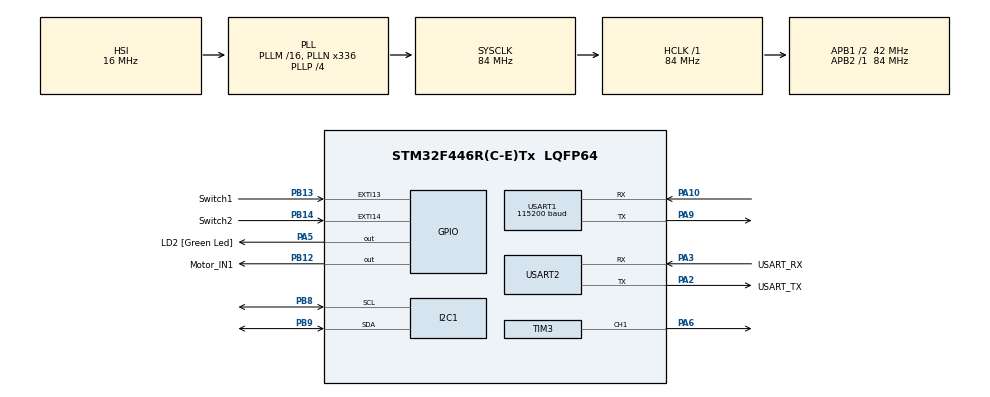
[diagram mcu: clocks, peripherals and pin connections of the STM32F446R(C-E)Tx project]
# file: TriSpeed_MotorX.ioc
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I2C1.I2C_Mode=I2C_Fast
Mcu.Family=STM32F4
Mcu.Name=STM32F446R(C-E)Tx
Mcu.Package=LQFP64
NVIC.EXTI15_10_IRQn=true\:0\:0\:false\:false\:true\:true\:true\:true
NVIC.PriorityGroup=NVIC_PRIORITYGROUP_0
NVIC.USART1_IRQn=true\:0\:0\:false\:false\:true\:true\:true\:true
NVIC.USART2_IRQn=true\:0\:0\:false\:false\:true\:true\:true\:true
PA10.Mode=Asynchronous
PA10.Signal=USART1_RX
PA13.GPIO_Label=TMS
PA13.Mode=Serial_Wire
PA13.Signal=SYS_JTMS-SWDIO
PA14.GPIO_Label=TCK
PA14.Mode=Serial_Wire
PA14.Signal=SYS_JTCK-SWCLK
PA2.GPIO_Label=USART_TX
PA2.Mode=Asynchronous
PA2.Signal=USART2_TX
PA3.GPIO_Label=USART_RX
PA3.Mode=Asynchronous
PA3.Signal=USART2_RX
PA5.GPIO_Label=LD2 [Green Led]
PA5.Signal=GPIO_Output
PA6.Signal=S_TIM3_CH1
PA9.Mode=Asynchronous
PA9.Signal=USART1_TX
PB12.GPIO_Label=Motor_IN1
PB12.Signal=GPIO_Output
PB13.GPIO_Label=Switch1
PB13.GPIO_ModeDefaultEXTI=GPIO_MODE_IT_FALLING
PB13.GPIO_PuPd=GPIO_PULLUP
PB13.Signal=GPXTI13
PB14.GPIO_Label=Switch2
PB14.GPIO_ModeDefaultEXTI=GPIO_MODE_IT_FALLING
PB14.GPIO_PuPd=GPIO_PULLUP
PB14.Signal=GPXTI14
PB3.GPIO_Label=SWO
PB3.Signal=SYS_JTDO-SWO
PB8.Mode=I2C
PB8.Signal=I2C1_SCL
PB9.Mode=I2C
PB9.Signal=I2C1_SDA
PC14-OSC32_IN.Mode=LSE-External-Oscillator
PC14-OSC32_IN.Signal=RCC_OSC32_IN
PC15-OSC32_OUT.Mode=LSE-External-Oscillator
PC15-OSC32_OUT.Signal=RCC_OSC32_OUT
PH0-OSC_IN.Mode=HSE-External-Oscillator
PH0-OSC_IN.Signal=RCC_OSC_IN
PH1-OSC_OUT.Mode=HSE-External-Oscillator
PH1-OSC_OUT.Signal=RCC_OSC_OUT
ProjectManager.HeapSize=0x200
ProjectManager.StackSize=0x400
ProjectManager.TargetToolchain=STM32CubeIDE
RCC.48MHZClocksFreq_Value=84000000
RCC.AHBFreq_Value=84000000
RCC.APB1CLKDivider=RCC_HCLK_DIV2
RCC.APB1Freq_Value=42000000
RCC.APB1TimFreq_Value=84000000
RCC.APB2Freq_Value=84000000
RCC.APB2TimFreq_Value=84000000
RCC.CortexFreq_Value=84000000
RCC.FLatency-AdvancedSettings=FLASH_LATENCY_2
RCC.HCLKFreq_Value=84000000
RCC.HSE_VALUE=8000000
RCC.HSI_VALUE=16000000
RCC.PLLN=336
RCC.PLLP=RCC_PLLP_DIV4
RCC.SYSCLKFreq_VALUE=84000000
RCC.SYSCLKSource=RCC_SYSCLKSOURCE_PLLCLK
RCC.USBFreq_Value=168000000
RCC.VCOOutputFreq_Value=336000000
SH.S_TIM3_CH1.0=TIM3_CH1,PWM Generation1 CH1
TIM3.Channel-PWM\ Generation1\ CH1=TIM_CHANNEL_1
TIM3.Period=100
TIM3.Prescaler=84-1
USART1.BaudRate=115200
USART1.VirtualMode=VM_ASYNC
USART2.VirtualMode=VM_ASYNC
VP_TIM3_VS_ClockSourceINT.Mode=Internal
board=NUCLEO-F446RE

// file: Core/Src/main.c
/* USER CODE BEGIN Header */
/**
  ******************************************************************************
  * @file           : main.c
  * @brief          : Main program body
  ******************************************************************************
  * @attention
  *
  * Copyright (c) 2025 STMicroelectronics.
  * All rights reserved.
  *
  * This software is licensed under terms that can be found in the LICENSE file
  * in the root directory of this software component.
  * If no LICENSE file comes with this software, it is provided AS-IS.
  *
  ******************************************************************************
  */
/* USER CODE END Header */
#include "main.h"

/* USER CODE BEGIN Includes */

#include <stdio.h>   // For sprintf
#include <string.h>  // For strlen
#include <stdarg.h>

#include "ssd1306.h" // From GitHub https://github.com/afiskon/stm32-ssd1306
#include "ssd1306_fonts.h" // From GitHub https://github.com/afiskon/stm32-ssd1306

/* USER CODE END Includes */

I2C_HandleTypeDef hi2c1;

TIM_HandleTypeDef htim3;

UART_HandleTypeDef huart1;
UART_HandleTypeDef huart2;

/* USER CODE BEGIN PV */

/*上面註解每次Generate Code都會被清掉移來這裡
 * 開啟I2C, Timer3, UART1
 * 另外UART2是建專案就開起的*/

/* USER CODE BEGIN PV */

volatile uint8_t btn2_down = 0;       //按鍵是否正在被按下（由中斷設為 1，放開時重設為 0）
volatile uint8_t btn2_released = 0;   //是否已經放開按鍵（偵測到釋放後設為 1，處理完後清除）
volatile uint32_t btn2_press_time = 0;//BTN2 按下當下的時間（用於計算按住時間以區分長按／短按）
volatile uint32_t btn2_release_debounce_time = 0;//放開時的防彈跳時間（確保放開維持一段時間才觸發事件）

// Motor state
volatile uint8_t speed_level = 0; //當前馬達轉速等級（0=停止, 1~3 對應弱/中/強）
volatile uint8_t uart_override = 0; //是否由 UART 控制速度（1=UART 控制, 0=按鈕控制）

// Button state
volatile uint8_t config_mode = 0; //是否進入設定模式（1=Config 模式, 只能用 UART 控制）
volatile uint8_t flag_btn1_pressed = 0; //BTN1 中斷觸發後設為 1，主程式內會依此切換速度，處理完後清除
volatile uint8_t flag_btn2_pressed = 0; //保留：目前未使用，可作為 BTN2 事件觸發用
volatile uint32_t last_btn1_time = 0; //BTN1 上次觸發時間（防彈跳用）
volatile uint32_t last_btn2_time = 0; //BTN2 上次觸發時間（防彈跳用）
uint32_t press_time = 0; //非 volatile，暫存按下時間（可與 BTN2 共用）

// UART RX
uint8_t rx_data; //USART2 單位元接收暫存區（配合 UART 中斷）

//Error Message
char oled_msg[22] = "";  //OLED 顯示訊息（最多 21 字元 + 1 個結尾 '\0'）
uint32_t oled_msg_time = 0; //訊息顯示起始時間（2 秒後自動清除）

/* USER CODE END PV */

void SystemClock_Config(void);
static void MX_GPIO_Init(void);
static void MX_USART2_UART_Init(void);
static void MX_TIM3_Init(void);
static void MX_I2C1_Init(void);
static void MX_USART1_UART_Init(void);
/* USER CODE BEGIN PFP */

/* --------------------------------------------------------------------------
 * 自己添加的私有函式宣告區（Private Function Prototypes）
 * 用於 OLED 顯示、錯誤訊息更新等自訂功能
 * -------------------------------------------------------------------------- */

void update_oled_display(void); //更新 OLED 顯示內容（狀態 / 轉速）
void oled_message(const char* fmt, ...);  //顯示錯誤訊息（支援格式化輸入

/* USER CODE END PFP */

/* USER CODE BEGIN 0 */

/*設定馬達轉速並根據狀態傳送對應 RGB 指令給 Arduino
 * mode 馬達速度等級（0=停止, 1=弱速, 2=中速, 3=高速）
 * 對應 PWM duty 為 0%, 20%, 50%, 80%
 */

void set_motor_speed(uint8_t mode)
{
    uint32_t duty = 0; //用於設定 PWM 輸出佔空比
    char rgb_cmd = '0';  //要透過 UART 傳送給 Arduino 的 RGB 控制（預設為 0：呼吸燈）
    //根據 mode 設定 PWM duty 與對應 RGB 指令
    switch(mode)
    {
        case 1: duty = 20; rgb_cmd = '1'; break; //弱速：20%，綠色系燈號
        case 2: duty = 50; rgb_cmd = '2'; break; //中速：50%，橙黃色系燈號
        case 3: duty = 80; rgb_cmd = '3'; break; //高速：80%，紅色系燈號
        default: duty = 0; rgb_cmd = '0'; break; //停止：0%，暖色系呼吸燈（待機）
    }
    //更新PWM的duty,控制馬達轉速
    __HAL_TIM_SET_COMPARE(&htim3, TIM_CHANNEL_1, duty);

    //僅在非設定模式下，主動透過 UART 傳送燈號控制指令給 Arduino（若為設定模式，應由使用者手動下指令控制燈色）
    if (!config_mode) {
        HAL_UART_Transmit(&huart1, (uint8_t *)&rgb_cmd, 1, HAL_MAX_DELAY);
    }

    //將變更結果印出到 UART2，可透過 PC 端 terminal 觀察（如 TeraTerm、PuTTY、RealTerm）
    printf("Speed changed to: %d\r\n", mode);
}

/* 開機時於 UART2 顯示控制說明
 * 包含：按鈕功能說明、UART 可輸入的控制指令格式等。
 * 可搭配 PC 端 terminal（TeraTerm / PuTTY / RealTerm）查看。
 */
void print_banner() {
    printf("=== TriSpeed MotorX v1.0 ===\r\n");
    printf("BTN1: PB13 - speed cycle\r\n");
    printf("BTN2: PB14 - short=reset, long=stop\r\n");
    printf("UART: 1/2/3/0=set, x=release override\r\n\r\n");
}

/* USER CODE END 0 */

int main(void)
{

  /* MCU Configuration--------------------------------------------------------*/

  /* Reset of all peripherals, Initializes the Flash interface and the Systick. */
  HAL_Init();

  /* Configure the system clock */
  SystemClock_Config();

  /* Initialize all configured peripherals */
  MX_GPIO_Init();
  MX_USART2_UART_Init();
  MX_TIM3_Init();
  MX_I2C1_Init();
  MX_USART1_UART_Init();
  /* USER CODE BEGIN 2 */

  //OLED 初始化與清除畫面
  ssd1306_Init(); //初始化 SSD1306 模組
  ssd1306_Fill(Black); //清除畫面
  ssd1306_UpdateScreen(); //將內容更新至 OLED

  /* USER CODE BEGIN 2 */

  //啟動外設功能
  HAL_TIM_PWM_Start(&htim3, TIM_CHANNEL_1);  //啟動馬達 PWM 控制
  HAL_UART_Receive_IT(&huart2, (uint8_t *)&rx_data, 1);   //啟動 UART2 非阻塞接收（PC端指令）

  //預設值：上電後為 Normal Mode（config_mode = 0）且馬達停止（speed_level = 0）
  config_mode = 0;
  speed_level = 0;  //speed_level = 0 對應「停止 + 呼吸燈」

  //---------- 通知 Arduino 離開設定模式 ----------
  //原本問題：若未主動通知，Arduino 仍保留在設定模式，導致顯示錯誤燈號（如閃爍白燈或藍紫燈）
  //解法：主動送出 'e'，代表退出設定模式（exit）
  char rgb_cmd_exit = 'e';
  HAL_UART_Transmit(&huart1, (uint8_t *)&rgb_cmd_exit, 1, HAL_MAX_DELAY);

  HAL_Delay(100);  //延遲一小段時間，確保 Arduino Serial 有足夠時間完成初始化

  //---------- 傳送預設燈號狀態 ----------
  //speed_level = 0 對應預設燈號（呼吸燈），需傳送 '0' 給 Arduino
  char rgb_cmd_mode = '0';
  HAL_UART_Transmit(&huart1, (uint8_t *)&rgb_cmd_mode, 1, HAL_MAX_DELAY);

  //系統初始狀態處理
  print_banner(); //列印操作說明，建議搭配 PC 端 terminal 使用（TeraTerm / PuTTY / RealTerm）
  set_motor_speed(speed_level); //設定初始速度（預設為 0：停止）
  update_oled_display(); //顯示初始狀態至 OLED

  //BTN2 釋放 debounce 時間初始化（延遲觸發防彈跳）
  static uint32_t btn2_release_debounce_time = 0;

  //拉高馬達 IN1 腳位(接在L298N模組)，固定馬達旋轉方向(只控制一個方向)
  HAL_GPIO_WritePin(GPIOB, GPIO_PIN_12, GPIO_PIN_SET);

  /* USER CODE END 2 */

  /* Infinite loop */
  /* USER CODE BEGIN WHILE */
  while (1)
  {

	  	  //---------- BTN1 被按下的處理邏輯 ----------
	      if (flag_btn1_pressed)
	      {
	          if (!config_mode)
	          {

	        	  //Normal 模式中循環切換速度（1 → 2 → 3 → 1）
	              speed_level++;
	              if (speed_level > 3) speed_level = 1;
	              set_motor_speed(speed_level);
	              printf("[BTN1] Speed -> %d (Normal Mode)\r\n",speed_level);
	          }
	          else
	          {

	        	  //設定模式中不允許按 BTN1 切換速度
	        	  printf("[BTN1] Invalid: In setting mode. Use UART.\r\n");
	        	  oled_message("Error: Not allowed");

	              flag_btn1_pressed = 0; //清除事件旗標

	              continue;//跳過更新，重新跑 while-loop

	          }

	          update_oled_display(); //顯示當前速度
	          flag_btn1_pressed = 0; //清除事件旗標
	      }

	      //---------- BTN2 輪詢（已停用，備用作為中斷替代方案） ----------
	      /*
	      if (!btn2_down && HAL_GPIO_ReadPin(GPIOB, GPIO_PIN_14) == GPIO_PIN_RESET)
	      {
	          btn2_down = 1;
	          btn2_press_time = HAL_GetTick();
	          btn2_release_debounce_time = 0; //初始化釋放計時器
	      }

	      //持續輪詢偵測放開動作（需維持高電位超過 100ms 才視為放開）
		  if (btn2_down && HAL_GPIO_ReadPin(GPIOB, GPIO_PIN_14) == GPIO_PIN_SET)
		  {
			  //第一次偵測放開 → 開始計時
			  if (btn2_release_debounce_time == 0)
				  btn2_release_debounce_time = HAL_GetTick();

			  //放開狀態維持超過 100ms → 視為正式放開
			  if (HAL_GetTick() - btn2_release_debounce_time > 100)
			  {
				  btn2_down = 0;
				  btn2_released = 1;
				  btn2_release_debounce_time = 0; //重設

				  uint32_t press_duration = HAL_GetTick() - btn2_press_time;

				  if (press_duration < 1000)
				  {

					  //短按處理：重設為弱速 + 離開設定模式
					  speed_level = 1;
					  config_mode = 0;
					  printf("[BTN2] Short Press: Reset to weak speed. Exit setting mode.\r\n");

					  //通知 Arduino 離開設定模式（'e'）
					  char rgb_cmd = 'e';
					  HAL_UART_Transmit(&huart1, (uint8_t *)&rgb_cmd, 1, HAL_MAX_DELAY);
				  }
				  else
				  {

					  //長按處理：進入設定模式 + 馬達停止
					 speed_level = 0;
					 config_mode = 1;
					 printf("[BTN2] Long Press: Enter setting mode. Motor stopped.\r\n");

					 set_motor_speed(speed_level);  //停止馬達
					 update_oled_display(); //顯示 "Mode: Setting"

					 //通知 Arduino 進入設定模式（'s'）
					 char rgb_cmd = 's';
					 HAL_UART_Transmit(&huart1, (uint8_t *)&rgb_cmd, 1, HAL_MAX_DELAY);

				  }

				  //最後統一更新顯示與速度
				  set_motor_speed(speed_level);
				  update_oled_display();

			  }
		  }

		  else
		  {
			  //若尚未穩定放開（bounce or 持續按壓）→ 重設釋放計時器
			  btn2_release_debounce_time = 0;
		  } */

	      //---------- BTN2 放開偵測（中斷版本用） ----------
	      if (btn2_down && HAL_GPIO_ReadPin(GPIOB, GPIO_PIN_14) == GPIO_PIN_SET)
	      {
	    	  //第一次偵測放開 → 開始計時
	    	  if (btn2_release_debounce_time == 0)
	              btn2_release_debounce_time = HAL_GetTick();

	          //放開狀態維持超過 100ms → 視為正式放開
	          if (HAL_GetTick() - btn2_release_debounce_time > 100)
	          {
	              btn2_down = 0;
	              btn2_released = 1;
	              printf("[EXTI] BTN2 released after %lu ms\r\n", HAL_GetTick() - btn2_press_time);
	              btn2_release_debounce_time = 0; //重設
	          }
	      }

		  else
		  {
			  //仍然按著 or 彈跳中 → 放開計時重置
			  btn2_release_debounce_time = 0;
		  }

	      //---------- BTN2 放開後的處理邏輯 ----------
	      if (btn2_released)
	      {

	    	  btn2_released = 0;

	          uint32_t press_duration = HAL_GetTick() - btn2_press_time;

	          if (press_duration < 1000)
	          {

	        	  //短按 → 重設為弱速、離開設定模式
	        	  speed_level = 1;
				  config_mode = 0;
				  printf("[BTN2] Short Press: Reset to weak speed. Exit setting mode.\r\n");

				  //通知 Arduino 離開設定模式（'e'）
				  char rgb_cmd = 'e';
				  HAL_UART_Transmit(&huart1, (uint8_t *)&rgb_cmd, 1, HAL_MAX_DELAY);
	          }
	          else
	          {

	        	 //長按 → 停止馬達並進入設定模式
	        	 speed_level = 0;
				 config_mode = 1;
				 printf("[BTN2] Long Press: Enter setting mode. Motor stopped.\r\n");

				 set_motor_speed(speed_level);  //停止馬達
				 update_oled_display(); //顯示 "Mode: Setting"

				 //通知 Arduino 進入設定模式（'s'）
				 char rgb_cmd = 's';
				 HAL_UART_Transmit(&huart1, (uint8_t *)&rgb_cmd, 1, HAL_MAX_DELAY);

	          }

	          //統一更新顯示與馬達狀態
	          set_motor_speed(speed_level);
	          update_oled_display();

	      }

    /* USER CODE END WHILE */

  }
}

void SystemClock_Config(void)
{
  RCC_OscInitTypeDef RCC_OscInitStruct = {0};
  RCC_ClkInitTypeDef RCC_ClkInitStruct = {0};

  /** Configure the main internal regulator output voltage
  */
  __HAL_RCC_PWR_CLK_ENABLE();
  __HAL_PWR_VOLTAGESCALING_CONFIG(PWR_REGULATOR_VOLTAGE_SCALE3);

  /** Initializes the RCC Oscillators according to the specified parameters
  * in the RCC_OscInitTypeDef structure.
  */
  RCC_OscInitStruct.OscillatorType = RCC_OSCILLATORTYPE_HSI;
  RCC_OscInitStruct.HSIState = RCC_HSI_ON;
  RCC_OscInitStruct.HSICalibrationValue = RCC_HSICALIBRATION_DEFAULT;
  RCC_OscInitStruct.PLL.PLLState = RCC_PLL_ON;
  RCC_OscInitStruct.PLL.PLLSource = RCC_PLLSOURCE_HSI;
  RCC_OscInitStruct.PLL.PLLM = 16;
  RCC_OscInitStruct.PLL.PLLN = 336;
  RCC_OscInitStruct.PLL.PLLP = RCC_PLLP_DIV4;
  RCC_OscInitStruct.PLL.PLLQ = 2;
  RCC_OscInitStruct.PLL.PLLR = 2;
  if (HAL_RCC_OscConfig(&RCC_OscInitStruct) != HAL_OK)
  {
    Error_Handler();
  }

  /** Initializes the CPU, AHB and APB buses clocks
  */
  RCC_ClkInitStruct.ClockType = RCC_CLOCKTYPE_HCLK|RCC_CLOCKTYPE_SYSCLK
                              |RCC_CLOCKTYPE_PCLK1|RCC_CLOCKTYPE_PCLK2;
  RCC_ClkInitStruct.SYSCLKSource = RCC_SYSCLKSOURCE_PLLCLK;
  RCC_ClkInitStruct.AHBCLKDivider = RCC_SYSCLK_DIV1;
  RCC_ClkInitStruct.APB1CLKDivider = RCC_HCLK_DIV2;
  RCC_ClkInitStruct.APB2CLKDivider = RCC_HCLK_DIV1;

  if (HAL_RCC_ClockConfig(&RCC_ClkInitStruct, FLASH_LATENCY_2) != HAL_OK)
  {
    Error_Handler();
  }
}

static void MX_I2C1_Init(void)
{

  hi2c1.Instance = I2C1;
  hi2c1.Init.ClockSpeed = 400000;
  hi2c1.Init.DutyCycle = I2C_DUTYCYCLE_2;
  hi2c1.Init.OwnAddress1 = 0;
  hi2c1.Init.AddressingMode = I2C_ADDRESSINGMODE_7BIT;
  hi2c1.Init.DualAddressMode = I2C_DUALADDRESS_DISABLE;
  hi2c1.Init.OwnAddress2 = 0;
  hi2c1.Init.GeneralCallMode = I2C_GENERALCALL_DISABLE;
  hi2c1.Init.NoStretchMode = I2C_NOSTRETCH_DISABLE;
  if (HAL_I2C_Init(&hi2c1) != HAL_OK)
  {
    Error_Handler();
  }

}

static void MX_TIM3_Init(void)
{

  TIM_ClockConfigTypeDef sClockSourceConfig = {0};
  TIM_MasterConfigTypeDef sMasterConfig = {0};
  TIM_OC_InitTypeDef sConfigOC = {0};

  htim3.Instance = TIM3;
  htim3.Init.Prescaler = 83;
  htim3.Init.CounterMode = TIM_COUNTERMODE_UP;
  htim3.Init.Period = 99;
  htim3.Init.ClockDivision = TIM_CLOCKDIVISION_DIV1;
  htim3.Init.AutoReloadPreload = TIM_AUTORELOAD_PRELOAD_DISABLE;
  if (HAL_TIM_Base_Init(&htim3) != HAL_OK)
  {
    Error_Handler();
  }
  sClockSourceConfig.ClockSource = TIM_CLOCKSOURCE_INTERNAL;
  if (HAL_TIM_ConfigClockSource(&htim3, &sClockSourceConfig) != HAL_OK)
  {
    Error_Handler();
  }
  if (HAL_TIM_PWM_Init(&htim3) != HAL_OK)
  {
    Error_Handler();
  }
  sMasterConfig.MasterOutputTrigger = TIM_TRGO_RESET;
  sMasterConfig.MasterSlaveMode = TIM_MASTERSLAVEMODE_DISABLE;
  if (HAL_TIMEx_MasterConfigSynchronization(&htim3, &sMasterConfig) != HAL_OK)
  {
    Error_Handler();
  }
  sConfigOC.OCMode = TIM_OCMODE_PWM1;
  sConfigOC.Pulse = 0;
  sConfigOC.OCPolarity = TIM_OCPOLARITY_HIGH;
  sConfigOC.OCFastMode = TIM_OCFAST_DISABLE;
  if (HAL_TIM_PWM_ConfigChannel(&htim3, &sConfigOC, TIM_CHANNEL_1) != HAL_OK)
  {
    Error_Handler();
  }
  HAL_TIM_MspPostInit(&htim3);

}

static void MX_USART1_UART_Init(void)
{

  huart1.Instance = USART1;
  huart1.Init.BaudRate = 115200;
  huart1.Init.WordLength = UART_WORDLENGTH_8B;
  huart1.Init.StopBits = UART_STOPBITS_1;
  huart1.Init.Parity = UART_PARITY_NONE;
  huart1.Init.Mode = UART_MODE_TX_RX;
  huart1.Init.HwFlowCtl = UART_HWCONTROL_NONE;
  huart1.Init.OverSampling = UART_OVERSAMPLING_16;
  if (HAL_UART_Init(&huart1) != HAL_OK)
  {
    Error_Handler();
  }

}

static void MX_USART2_UART_Init(void)
{

  huart2.Instance = USART2;
  huart2.Init.BaudRate = 115200;
  huart2.Init.WordLength = UART_WORDLENGTH_8B;
  huart2.Init.StopBits = UART_STOPBITS_1;
  huart2.Init.Parity = UART_PARITY_NONE;
  huart2.Init.Mode = UART_MODE_TX_RX;
  huart2.Init.HwFlowCtl = UART_HWCONTROL_NONE;
  huart2.Init.OverSampling = UART_OVERSAMPLING_16;
  if (HAL_UART_Init(&huart2) != HAL_OK)
  {
    Error_Handler();
  }

}

static void MX_GPIO_Init(void)
{
  GPIO_InitTypeDef GPIO_InitStruct = {0};

  /* GPIO Ports Clock Enable */
  __HAL_RCC_GPIOC_CLK_ENABLE();
  __HAL_RCC_GPIOH_CLK_ENABLE();
  __HAL_RCC_GPIOA_CLK_ENABLE();
  __HAL_RCC_GPIOB_CLK_ENABLE();

  /*Configure GPIO pin Output Level */
  HAL_GPIO_WritePin(LD2_GPIO_Port, LD2_Pin, GPIO_PIN_RESET);

  /*Configure GPIO pin Output Level */
  HAL_GPIO_WritePin(Motor_IN1_GPIO_Port, Motor_IN1_Pin, GPIO_PIN_RESET);

  /*Configure GPIO pin : LD2_Pin */
  GPIO_InitStruct.Pin = LD2_Pin;
  GPIO_InitStruct.Mode = GPIO_MODE_OUTPUT_PP;
  GPIO_InitStruct.Pull = GPIO_NOPULL;
  GPIO_InitStruct.Speed = GPIO_SPEED_FREQ_LOW;
  HAL_GPIO_Init(LD2_GPIO_Port, &GPIO_InitStruct);

  /*Configure GPIO pin : Motor_IN1_Pin */
  GPIO_InitStruct.Pin = Motor_IN1_Pin;
  GPIO_InitStruct.Mode = GPIO_MODE_OUTPUT_PP;
  GPIO_InitStruct.Pull = GPIO_NOPULL;
  GPIO_InitStruct.Speed = GPIO_SPEED_FREQ_LOW;
  HAL_GPIO_Init(Motor_IN1_GPIO_Port, &GPIO_InitStruct);

  /*Configure GPIO pins : Switch1_Pin Switch2_Pin */
  GPIO_InitStruct.Pin = Switch1_Pin|Switch2_Pin;
  GPIO_InitStruct.Mode = GPIO_MODE_IT_FALLING;
  GPIO_InitStruct.Pull = GPIO_PULLUP;
  HAL_GPIO_Init(GPIOB, &GPIO_InitStruct);

  /* EXTI interrupt init*/
  HAL_NVIC_SetPriority(EXTI15_10_IRQn, 0, 0);
  HAL_NVIC_EnableIRQ(EXTI15_10_IRQn);

}

/* USER CODE BEGIN 4 */

/* 外部中斷回呼函式，用來處理 BTN1（PB13）與 BTN2（PB14）按下事件
 *
 * 僅在中斷觸發時紀錄按下時間或設定事件旗標，避免在中斷中執行繁重邏輯。
 * BTN1：速度切換（設定 flag）
 * BTN2：判斷長按/短按（記錄按下時間，放開由主迴圈偵測）
 */

void HAL_GPIO_EXTI_Callback(uint16_t GPIO_Pin)
{
    uint32_t now = HAL_GetTick();  //取得目前時間（單位：ms）

    //---------- BTN1（PB13）按下事件 ----------
    if (GPIO_Pin == GPIO_PIN_13)
    {

    	if(config_mode) //設定模式下，直接略過 BTN1 中斷處理
    		return;

    	//若距離上次觸發已超過 150ms → 防彈跳
    	if (now - last_btn1_time > 150)  //防彈跳間隔 150ms
        {

    		if (HAL_GPIO_ReadPin(GPIOB, GPIO_PIN_13) == GPIO_PIN_RESET){

    			flag_btn1_pressed = 1; //設定旗標，主程式會依此處理速度切換

    			last_btn1_time = now; //更新上次觸發時間

    		}
        }
    }

    //---------- BTN2（PB14）按下事件 ----------
    //註：曾懷疑 speed_level = 3 自動跳回 1 是因馬達 EMI 誤觸中斷所致
    else if (GPIO_Pin == GPIO_PIN_14)
    {
    	 //若距離上次觸發已超過 150ms → 防彈跳
    	if (now - last_btn2_time > 150)
        {
            last_btn2_time = now;

            //確保不是連續觸發，並再次確認當下電平為低（按下狀態）
			if (!btn2_down && HAL_GPIO_ReadPin(GPIOB, GPIO_PIN_14) == GPIO_PIN_RESET)  //加強判斷
            {
            	btn2_down = 1; //標記為正在按住狀態
                btn2_press_time = now; //記錄按下時間（用於判斷長按 or 短按）
                btn2_release_debounce_time = 0; //初始化放開 debounce 計時
                printf("[EXTI] BTN2 pressed at %lu ms\r\n", now);
            }
        }
    }
}

/* 接收完成中斷回呼函式
 *
 * 當 USART2 接收到 1 個 byte 資料後觸發。僅在進入 Config Mode（設定模式）時允許透過 UART 改變馬達轉速。
 * 否則會拒絕並顯示錯誤訊息。
 */

void HAL_UART_RxCpltCallback(UART_HandleTypeDef *huart)
{
	//確認此次中斷是來自 USART2（從PC端Terminal傳來的資料）
	if (huart->Instance == USART2)
    {
        uint8_t new_speed = speed_level; //預設為目前速度，後續判斷是否需要變更

        if (config_mode) //僅在設定模式下允許 UART 控速
        {
            switch(rx_data)
            {
                case '1': new_speed = 1; break;
                case '2': new_speed = 2; break;
                case '3': new_speed = 3; break;
                case '0': new_speed = 0; break;

                //非法輸入：顯示錯誤訊息至 Terminal + OLED
                default:
                	printf("[UART ] Invalid input: %c\r\n", rx_data);
                	oled_message("Invalid input: %c", rx_data);
                	break;

            }

            //若有變更速度，則更新 PWM、OLED 與 Arduino RGB
            if (new_speed != speed_level) {

            	speed_level = new_speed; //更新馬達速度

                set_motor_speed(speed_level); //變更 PWM 輸出

                update_oled_display(); //OLED 顯示當前狀態

                //將原始輸入字元透過 UART 傳送給 Arduino，控制 RGB 燈色
                char rgb_cmd = rx_data; // '1', '2', '3', '0'

                HAL_UART_Transmit(&huart1, (uint8_t *)&rgb_cmd, 1, HAL_MAX_DELAY);

                printf("[UART ] Speed -> %d (Setting Mode)\r\n", speed_level);
            }
        }

        else //非設定模式 → 拒絕 UART 控制
        {
            printf("[UART ] Ignored: Not in setting mode. Long press BTN2 to enable.\r\n");

            oled_message("Not setting mode"); //顯示錯誤訊息至 OLED

            update_oled_display();  //刷新 OLED 畫面（有錯誤提示）
        }

        //重新啟用 UART 接收中斷（非一次性，要持續接收）
        HAL_UART_Receive_IT(&huart2, &rx_data, 1);
    }
}

/* 更新 OLED 顯示內容
 *
 * 顯示專案標題、當前模式（Normal / Setting）、速度狀態（Weak / Mid / High / Stop），
 * 並在有錯誤訊息時顯示提示，超過 2 秒自動清除。
 */

void update_oled_display(void)
{
    ssd1306_Fill(Black); //清空螢幕（塗滿黑色背景）

    //顯示標題：TriSpeed MotorX
    ssd1306_SetCursor(0, 0);
    ssd1306_WriteString("TriSpeed MotorX", Font_7x10, White);

    //顯示目前模式（設定模式或一般模式）
    ssd1306_SetCursor(0, 16);
    if (config_mode)
        ssd1306_WriteString("Mode: Setting", Font_7x10, White); //設定模式
    else
        ssd1306_WriteString("Mode: Normal", Font_7x10, White); //設定模式

    //顯示目前速度狀態
    ssd1306_SetCursor(0, 32);
    switch (speed_level)
    {
    	case 0: ssd1306_WriteString("Speed: Stop", Font_7x10, White); break;
        case 1: ssd1306_WriteString("Speed: Weak", Font_7x10, White); break;
        case 2: ssd1306_WriteString("Speed: Mid", Font_7x10, White); break;
        case 3: ssd1306_WriteString("Speed: High", Font_7x10, White); break;
    }

    //顯示錯誤訊息（如有），最多顯示 2 秒
    ssd1306_SetCursor(0, 48);
        if (oled_msg[0] != '\0' && HAL_GetTick() - oled_msg_time < 2000) {
            ssd1306_WriteString(oled_msg, Font_7x10, White); //顯示訊息
        } else {
            oled_msg[0] = '\0';  //時間到 → 自動清除內容
        }

    ssd1306_UpdateScreen(); //最後統一更新畫面（送出到 OLED）
}

/*顯示格式化錯誤訊息至 OLED，並記錄出現時間（維持顯示 2 秒）
*
* 此函式支援 printf-style 格式化文字，例如：
* oled_message("Invalid input: %c", rx_data);
*
* 實際顯示與時間控制交由 update_oled_display() 處理。
*
* fmt 欲顯示的格式化字串（支援 %d、%c、%s 等格式）
*/

void oled_message(const char* fmt, ...) {
    va_list args; //宣告可變參數清單
    va_start(args, fmt); //初始化參數讀取（從 fmt 開始）
    vsnprintf(oled_msg, sizeof(oled_msg), fmt, args); //將格式化後的字串寫入 oled_msg[]
    va_end(args); //結束參數讀取
    oled_msg_time = HAL_GetTick(); //記錄目前時間，用於後續計算是否超過顯示時間
}

#ifdef __GNUC__
#define PUTCHAR_PROTOTYPE int __io_putchar(int ch) //GCC 編譯器預設的 printf 輸出函式
#else
#define PUTCHAR_PROTOTYPE int fputc(int ch, FILE *f) //其他編譯器（如 KEIL）預設用 fputc
#endif

//將 printf 的輸出字元透過 UART2 傳送出去
PUTCHAR_PROTOTYPE
{
    HAL_UART_Transmit(&huart2, (uint8_t *)&ch, 1, HAL_MAX_DELAY); //實際傳送字元給電腦端
    return ch; //回傳該字元，讓 printf 繼續下一個字元
}

/* USER CODE END 4 */

void Error_Handler(void)
{
  __disable_irq();
  while (1)
  {
  }
}
